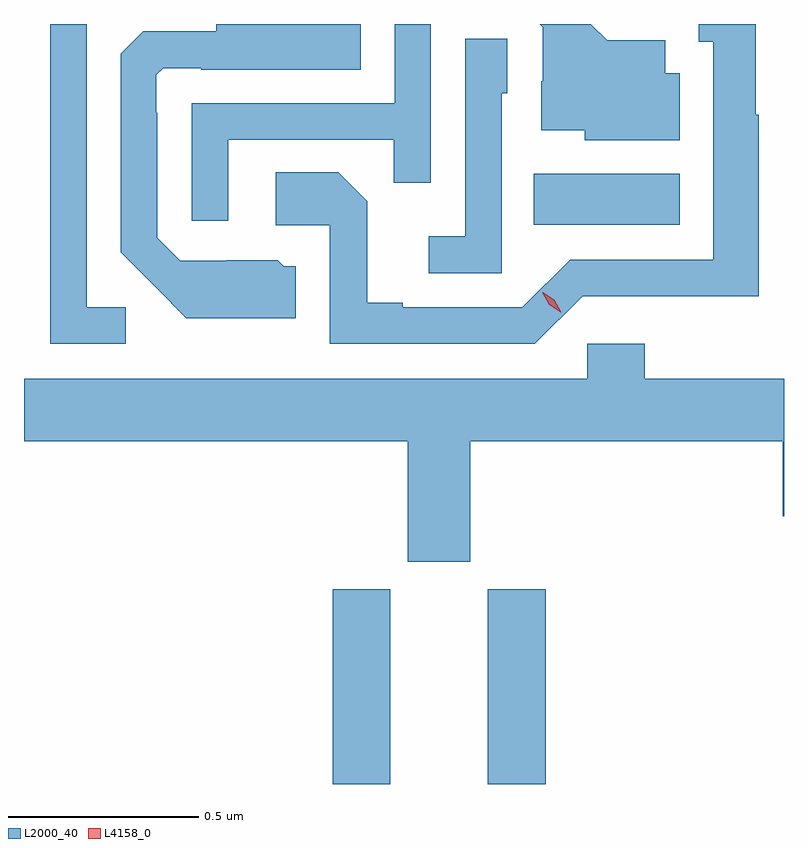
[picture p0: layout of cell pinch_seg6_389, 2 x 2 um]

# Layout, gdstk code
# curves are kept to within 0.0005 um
import gdstk
lib = gdstk.Library(unit=1e-6, precision=1e-09)
def R(c, l, rs):  # rectangles x0, y0, x1, y1
    for r in rs: c.add(gdstk.rectangle(r[:2], r[2:], *l))
def P(c, l, *ps):  # polygons
    for p in ps: c.add(gdstk.Polygon(p, *l))
L2000_40 = (2000, 40)
L4158_0 = (4158, 0)

pinch_seg6_389 = lib.new_cell('pinch_seg6_389')
R(pinch_seg6_389, L2000_40, [(654.986,949.098,655.138,949.611), (655.394,949.098,655.547,949.611), (655.516,950.57,655.9,950.704)])
P(pinch_seg6_389, L2000_40, [(655.644,950.382),(655.866,950.382),(655.866,950.381),(656.107,950.381),(656.107,950.859),(656.099,950.859),(656.099,951.098),(655.949,951.098),(655.949,951.051),(655.988,951.051),(655.988,950.478),(655.611,950.478),(655.485,950.352),(655.171,950.352),(655.171,950.365),(655.077,950.365),(655.077,950.632),(655.001,950.708),(654.837,950.708),(654.837,950.568),(654.978,950.568),(654.978,950.256),(655.518,950.256)],
  [(654.711,950.793),(655.147,950.793),(655.147,950.68),(655.245,950.68),(655.245,951.098),(655.149,951.098),(655.149,950.889),(654.615,950.889),(654.615,950.58),(654.711,950.58)],
  [(655.9,950.968),(655.861,950.968),(655.861,951.055),(655.709,951.055),(655.666,951.098),(655.531,951.098),(655.539,951.09),(655.539,950.948),(655.535,950.948),(655.535,950.819),(655.65,950.819),(655.65,950.792),(655.9,950.792)],
  [(654.442,950.352),(654.339,950.352),(654.339,951.098),(654.243,951.098),(654.243,950.256),(654.442,950.256)],
  [(654.889,950.46),(654.858,950.46),(654.842,950.476),(654.708,950.476),(654.708,950.475),(654.585,950.475),(654.525,950.535),(654.525,950.864),(654.522,950.864),(654.522,950.964),(654.54,950.982),(654.64,950.982),(654.64,950.978),(655.06,950.978),(655.06,951.098),(654.68,951.098),(654.68,951.079),(654.488,951.079),(654.429,951.02),(654.429,950.498),(654.601,950.324),(654.889,950.324)],
  [(655.431,950.916),(655.446,950.916),(655.446,951.059),(655.335,951.059),(655.335,950.539),(655.239,950.539),(655.239,950.442),(655.431,950.442)],
  [(655.348,950),(656.171,950),(656.171,949.803),(656.174,949.803),(656.174,950.164),(655.808,950.164),(655.808,950.257),(655.656,950.257),(655.656,950.164),(654.174,950.164),(654.174,950),(655.184,950),(655.184,949.683),(655.348,949.683)])
P(pinch_seg6_389, L4158_0, [(655.587,950.34),(655.556,950.359),(655.538,950.392),(655.538,950.392),(655.539,950.392),(655.57,950.373),(655.588,950.34),(655.588,950.34)])

lib.write_gds('pinch_seg6_389.gds')
